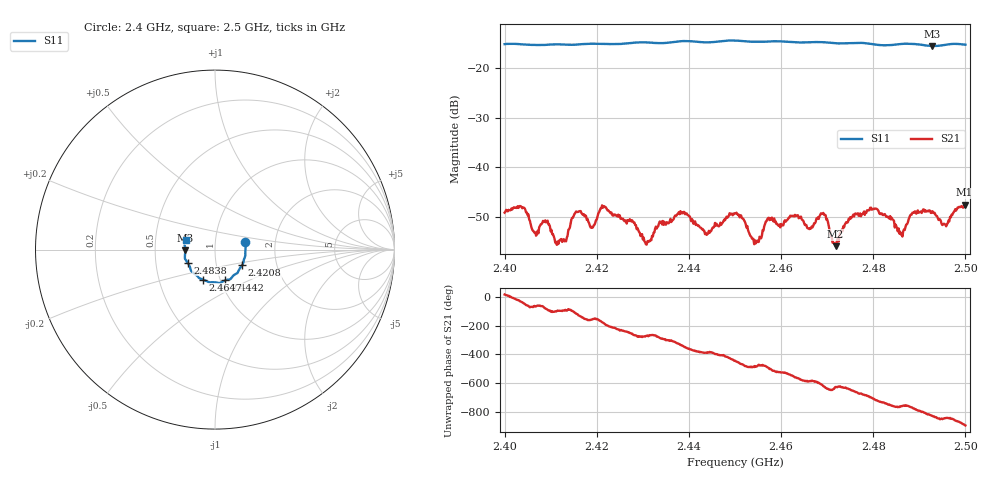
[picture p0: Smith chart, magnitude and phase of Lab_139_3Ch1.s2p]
# Hz S RI R 50
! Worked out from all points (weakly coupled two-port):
!   601 points, 2.4 GHz to 2.5 GHz, reference 50 ohm
!   highest |S21| = -47.52 dB at 2.4998 GHz (marker M1); lowest = -55.8 dB at 2.4718 GHz (marker M2)
!   lowest |S11| = -15.6 dB at 2.4928 GHz (marker M3), VSWR 1.40, Z = 35.8 - j0.357 ohm
!   |S11| at or under -10 dB: start of sweep to end of sweep
!   S12 and S22 are empty: the file has one direction only
!   S11 on the Smith chart (normalised r, x): 2.4 GHz: 1.40, +0.12; 2.4208 GHz: 1.33, -0.24; 2.4442 GHz: 1.05, -0.37; 2.4647 GHz: 0.83, -0.29; 2.4838 GHz: 0.73, -0.11; 2.5 GHz: 0.72, +0.08
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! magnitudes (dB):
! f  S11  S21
! 2.4 GHz  -15.2  -49.1
! 2.4115 GHz  -15.3  -54.9
! 2.4167 GHz  -15.3  -49.2
! 2.4208 GHz  -15.2  -48.3
! 2.4308 GHz  -14.9  -55.5
! 2.4333 GHz  -15.0  -51.8
! 2.4387 GHz  -14.6  -49.2
! 2.4442 GHz  -14.9  -53.3
! 2.45 GHz  -14.5  -49.2
! 2.4547 GHz  -14.8  -55.0
! 2.4575 GHz  -14.7  -50.6
! 2.4647 GHz  -14.9  -50.6
! 2.4667 GHz  -14.8  -51.9
! 2.4692 GHz  -14.9  -49.2
! 2.4718 GHz  -15.1  -55.8
! 2.4762 GHz  -15.0  -49.3
! 2.4833 GHz  -15.5  -50.2
! 2.4838 GHz  -15.4  -50.5
! 2.4862 GHz  -15.2  -53.3
! 2.4928 GHz  -15.6  -48.8
! 2.4998 GHz  -15.3  -47.5
! 2.5 GHz  -15.3  -47.9
